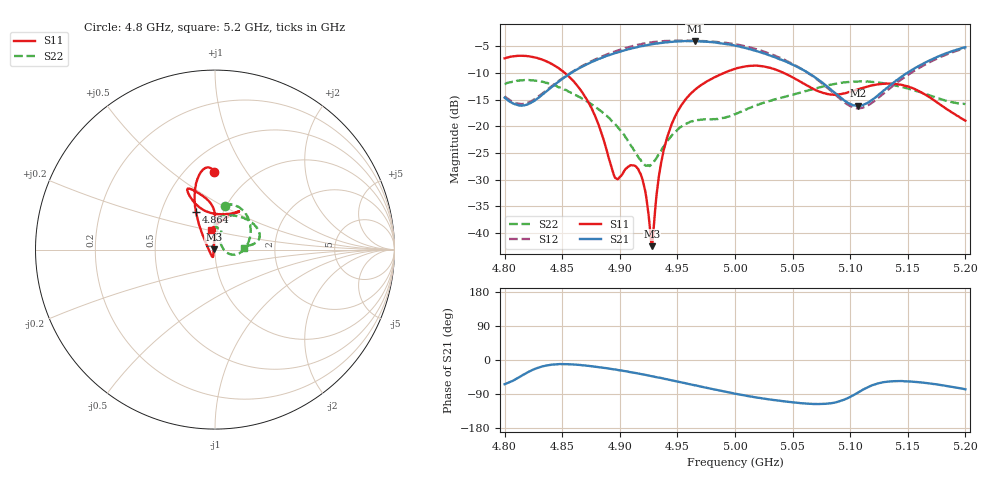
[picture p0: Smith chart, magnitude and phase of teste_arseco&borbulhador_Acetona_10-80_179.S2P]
! Network Analyzer HP8722D
! Hewlett-Packard
! Data name: Linha & Wilkinson
! Saver's name: Rodrigo Anjos
! Comments: Teste da utilização de aquisição
! continua pelo VNA HP8722D
! Time and date: 25/4/2025 16:45
!  Frequency  S11  S21  S12  S22
# HZ  S  MA R 50
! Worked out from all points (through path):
!   401 points, 4.8 GHz to 5.2 GHz, reference 50 ohm
!   highest |S21| = -3.98 dB at 4.965 GHz (marker M1); lowest = -16.1 dB at 5.107 GHz (marker M2)
!   lowest |S11| = -42.5 dB at 4.928 GHz (marker M3), VSWR 1.02, Z = 49.3 + j0.0862 ohm
!   |S11| at or under -10 dB: 4.852 GHz to 4.99 GHz (137.8 MHz wide, 2.8 % of centre); 5.043 GHz to end of sweep
!   |S22| runs from -27.5 to -11.3 dB; largest |S21 - S12| = 1.2
!   S11 on the Smith chart (normalised r, x): 4.8 GHz: 0.67, +0.72; 4.864 GHz: 0.75, +0.33; 5.2 GHz: 0.94, +0.21
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4.8e9  0.4347 91.0  0.1857 -63.9  0.1911 69.5  0.2485 77.4
4.821e9  0.4553 97.6  0.1629 -31.0  0.1677 99.7  0.2721 60.9
4.864e9  0.2341 117.0  0.348 -12.5  0.3514 121.1  0.19 12.3
4.867e9  0.2115 118.5  0.3622 -13.7  0.3662 120.8  0.1831 9.0
4.88e9  0.1145 128.8  0.4208 -18.2  0.4316 118.4  0.1486 -4.9
4.896e9  0.03279 -169.1  0.4872 -25.0  0.506 113.4  0.1048 -15.6
4.91e9  0.04313 -108.2  0.5386 -32.3  0.5632 107.2  0.06489 -12.9
4.917e9  0.03733 -104.9  0.5611 -36.1  0.5873 103.7  0.04951 -1.0
4.921e9  0.02761 -109.7  0.5716 -38.6  0.5993 101.4  0.04412 12.6
4.926e9  0.01148 -135.0  0.5857 -41.6  0.6115 98.4  0.04233 32.3
4.928e9  0.007492 173.3  0.5919 -42.7  0.6158 97.2  0.04465 40.1
4.934e9  0.03439 99.8  0.6029 -46.7  0.627 93.5  0.05471 56.9
4.939e9  0.06477 93.7  0.6136 -49.6  0.6333 90.2  0.06686 65.1
4.946e9  0.1107 90.3  0.6222 -54.3  0.6367 85.6  0.08421 69.5
4.965e9  0.2195 91.3  0.6325 -66.7  0.6357 73.5  0.1136 70.9
5e9  0.3464 109.3  0.5726 -88.8  0.5922 51.0  0.13 88.1
5.031e9  0.3534 115.3  0.4605 -104.6  0.4767 33.5  0.1743 84.7
5.067e9  0.2277 105.6  0.3013 -115.9  0.2983 23.7  0.2222 57.3
5.107e9  0.2233 64.8  0.1559 -85.3  0.1476 57.6  0.2635 24.3
5.134e9  0.2518 57.8  0.2398 -56.7  0.2256 88.7  0.2481 12.5
5.169e9  0.1871 70.6  0.4163 -62.0  0.4001 85.0  0.1951 6.9
5.2e9  0.1131 100.7  0.5527 -77.3  0.5442 70.4  0.1619 3.8
